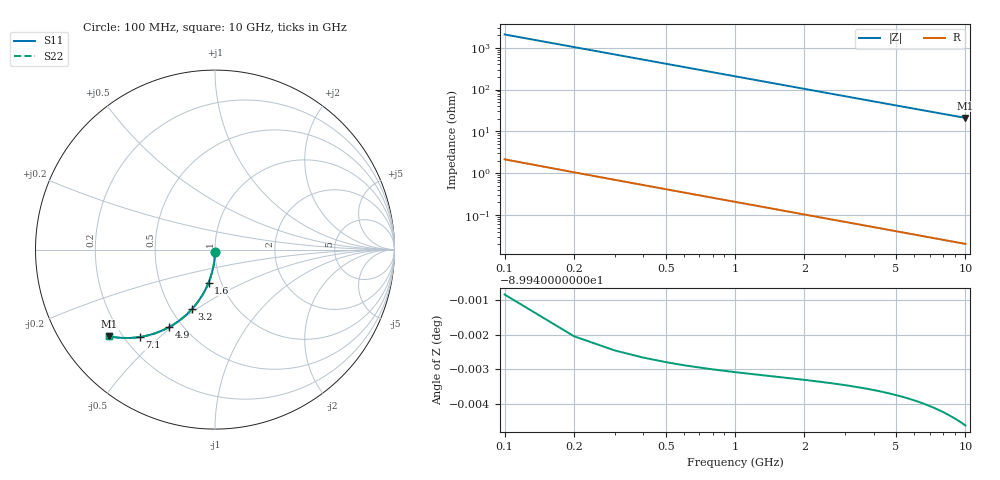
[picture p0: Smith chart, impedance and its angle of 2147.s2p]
# Hz S RI R 50.00
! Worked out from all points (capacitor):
!   100 points, 100 MHz to 10 GHz, reference 50 ohm
!   read as one part in shunt: C = 766 fF near 100 MHz
!   lowest |Z| = 21.1 ohm at 10 GHz (marker M1)
!   S11 on the Smith chart (normalised r, x): 100 MHz: 1.00, -0.02; 1.6 GHz: 0.87, -0.33; 3.2 GHz: 0.63, -0.48; 4.9 GHz: 0.42, -0.49; 7.1 GHz: 0.26, -0.43; 10 GHz: 0.15, -0.35
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1e8  -0.000135 -0.0119  0.9998 -0.0121  0.9998 -0.0121  -0.000135 -0.0119
2e8  -0.00058 -0.0239  0.9994 -0.0242  0.9994 -0.0242  -0.00058 -0.0239
3e8  -0.00131 -0.0358  0.9986 -0.0363  0.9986 -0.0363  -0.00131 -0.0358
4e8  -0.00233 -0.0477  0.9976 -0.0483  0.9976 -0.0483  -0.00233 -0.0477
5e8  -0.00364 -0.0595  0.9963 -0.0603  0.9963 -0.0603  -0.00364 -0.0595
6e8  -0.00523 -0.0713  0.9947 -0.0723  0.9947 -0.0723  -0.00523 -0.0713
7e8  -0.00709 -0.083  0.9929 -0.0841  0.9929 -0.0841  -0.00709 -0.083
9e8  -0.0117 -0.1062  0.9883 -0.1077  0.9883 -0.1077  -0.0117 -0.1062
1.2e9  -0.0205 -0.1403  0.9795 -0.1423  0.9795 -0.1423  -0.0205 -0.1403
1.6e9  -0.0358 -0.1841  0.9641 -0.1867  0.9641 -0.1867  -0.0358 -0.1841
1.8e9  -0.0449 -0.2051  0.9551 -0.2081  0.9551 -0.2081  -0.0449 -0.2051
2.4e9  -0.077 -0.2641  0.923 -0.2681  0.923 -0.2681  -0.077 -0.2641
2.8e9  -0.1019 -0.2997  0.8981 -0.3043  0.8981 -0.3043  -0.1019 -0.2997
3.2e9  -0.129 -0.332  0.871 -0.3373  0.871 -0.3373  -0.129 -0.332
3.4e9  -0.1432 -0.3469  0.8568 -0.3526  0.8568 -0.3526  -0.1432 -0.3469
4.1e9  -0.1953 -0.3925  0.8046 -0.3994  0.8046 -0.3994  -0.1953 -0.3925
4.9e9  -0.2572 -0.4325  0.7427 -0.4407  0.7427 -0.4407  -0.2572 -0.4325
5.1e9  -0.2728 -0.4406  0.7271 -0.4492  0.7271 -0.4492  -0.2728 -0.4406
6.7e9  -0.3926 -0.4822  0.6073 -0.4935  0.6073 -0.4935  -0.3926 -0.4822
7.1e9  -0.4205 -0.4871  0.5794 -0.4991  0.5794 -0.4991  -0.4205 -0.4871
8.4e9  -0.5037 -0.4923  0.4962 -0.5066  0.4962 -0.5066  -0.5037 -0.4923
1e10  -0.5897 -0.4828  0.4101 -0.4999  0.4101 -0.4999  -0.5897 -0.4828
